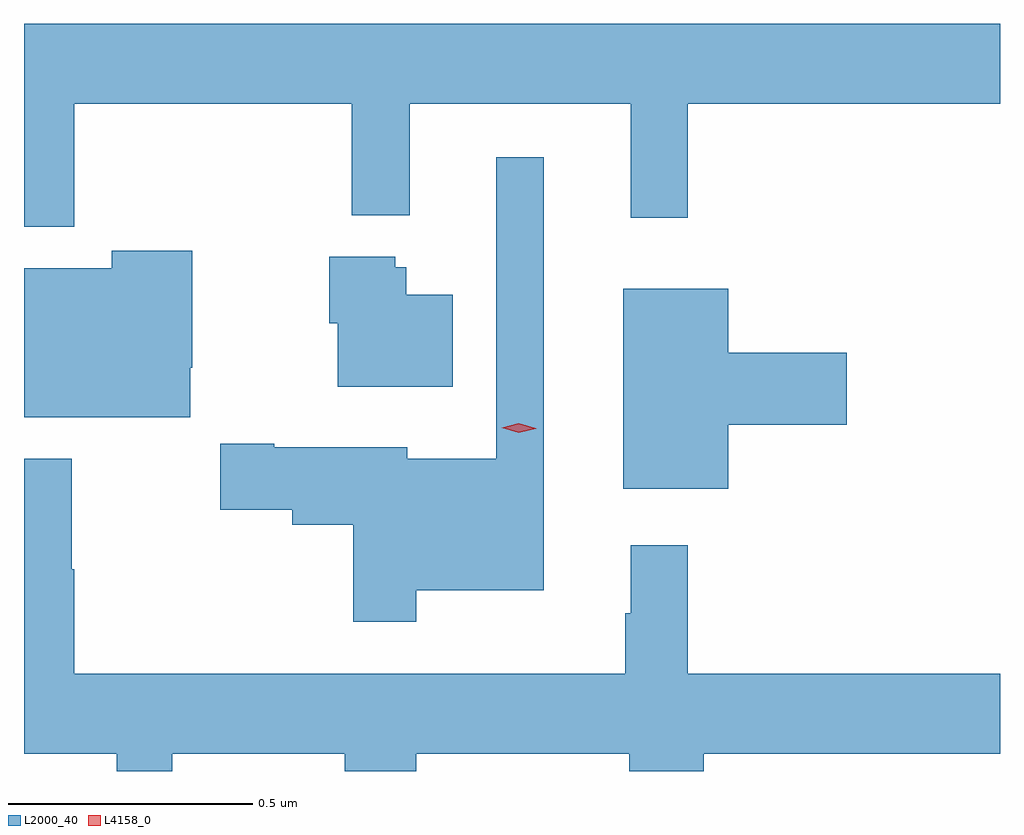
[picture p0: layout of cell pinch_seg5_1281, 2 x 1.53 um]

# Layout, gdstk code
import gdstk
lib = gdstk.Library(unit=1e-6, precision=1e-09)
def P(c, l, *ps):  # polygons
    for p in ps: c.add(gdstk.Polygon(p, *l))
L2000_40 = (2000, 40)
L4158_0 = (4158, 0)

pinch_seg5_1281 = lib.new_cell('pinch_seg5_1281')
P(pinch_seg5_1281, L2000_40, [(410.792,904.712),(411.361,904.712),(411.361,904.484),(411.479,904.484),(411.479,904.712),(411.932,904.712),(411.932,904.479),(412.049,904.479),(412.049,904.712),(412.689,904.712),(412.689,904.876),(410.689,904.876),(410.689,904.46),(410.792,904.46)],
  [(411.493,903.716),(411.754,903.716),(411.754,904.603),(411.657,904.603),(411.657,903.985),(411.474,903.985),(411.474,904.009),(411.202,904.009),(411.202,904.016),(411.091,904.016),(411.091,903.88),(411.239,903.88),(411.239,903.85),(411.364,903.85),(411.364,903.651),(411.493,903.651)],
  [(411.03,904.171),(411.034,904.171),(411.034,904.411),(410.869,904.411),(410.869,904.375),(410.689,904.375),(410.689,904.07),(411.03,904.07)],
  [(411.568,904.321),(411.472,904.321),(411.472,904.377),(411.45,904.377),(411.45,904.399),(411.314,904.399),(411.314,904.263),(411.332,904.263),(411.332,904.133),(411.568,904.133)],
  [(412.132,904.055),(412.375,904.055),(412.375,904.202),(412.132,904.202),(412.132,904.333),(411.917,904.333),(411.917,903.923),(412.132,903.923)],
  [(410.993,903.38),(411.346,903.38),(411.346,903.345),(411.493,903.345),(411.493,903.38),(411.929,903.38),(411.929,903.345),(412.082,903.345),(412.082,903.38),(412.689,903.38),(412.689,903.544),(412.049,903.544),(412.049,903.808),(411.932,903.808),(411.932,903.668),(411.921,903.668),(411.921,903.544),(410.792,903.544),(410.792,903.759),(410.787,903.759),(410.787,903.985),(410.689,903.985),(410.689,903.38),(410.879,903.38),(410.879,903.345),(410.993,903.345)])
P(pinch_seg5_1281, L4158_0, [(411.703,904.038),(411.668,904.049),(411.667,904.049),(411.668,904.049),(411.703,904.058),(411.738,904.047),(411.739,904.046),(411.738,904.046)])

lib.write_gds('pinch_seg5_1281.gds')
